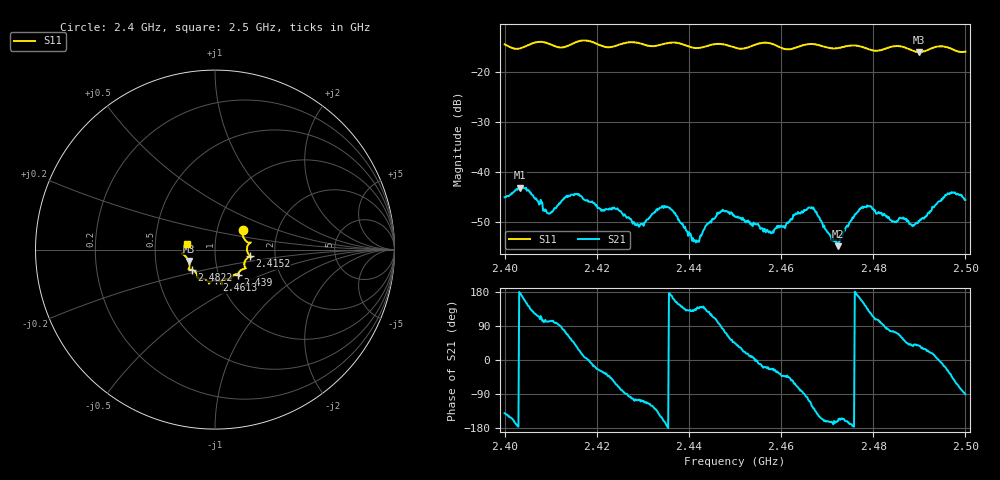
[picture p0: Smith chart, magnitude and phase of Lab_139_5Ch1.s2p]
# Hz S RI R 50
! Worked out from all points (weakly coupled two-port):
!   601 points, 2.4 GHz to 2.5 GHz, reference 50 ohm
!   highest |S21| = -43.16 dB at 2.4033 GHz (marker M1); lowest = -54.9 dB at 2.4723 GHz (marker M2)
!   lowest |S11| = -15.9 dB at 2.49 GHz (marker M3), VSWR 1.38, Z = 36.9 - j4.82 ohm
!   |S11| at or under -10 dB: start of sweep to end of sweep
!   S12 and S22 are empty: the file has one direction only
!   S11 on the Smith chart (normalised r, x): 2.4 GHz: 1.33, +0.31; 2.4152 GHz: 1.48, -0.11; 2.439 GHz: 1.24, -0.36; 2.4613 GHz: 0.96, -0.34; 2.4822 GHz: 0.76, -0.17; 2.5 GHz: 0.73, +0.05
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2.4e9  0.1555 0.1112  -0.0043 -0.00355  0 0  0 0
2.403333e9  0.1645 0.0572  -0.00694 0.000456  0 0  0 0
2.409667e9  0.1907 0.0348  -0.000819 0.00372  0 0  0 0
2.415167e9  0.1949 -0.0368  0.0044 0.00411  0 0  0 0
2.416667e9  0.2043 -0.0425  0.00545 0.00168  0 0  0 0
2.428833e9  0.1683 -0.1052  -0.000794 -0.0029  0 0  0 0
2.433333e9  0.1322 -0.1321  -0.00327 -0.00274  0 0  0 0
2.435833e9  0.134 -0.1466  -0.00435 0.00033  0 0  0 0
2.439e9  0.1283 -0.1389  -0.00196 0.0019  0 0  0 0
2.441667e9  0.102 -0.1431  -0.00145 0.00145  0 0  0 0
2.446667e9  0.0858 -0.1734  -0.000253 0.00385  0 0  0 0
2.45e9  0.0688 -0.1636  0.00258 0.00249  0 0  0 0
2.457833e9  0.0392 -0.1911  0.0022 -0.001  0 0  0 0
2.461333e9  0.00755 -0.1705  0.00233 -0.00204  0 0  0 0
2.466667e9  -0.0332 -0.1902  -0.00231 -0.00377  0 0  0 0
2.472333e9  -0.0697 -0.1608  -0.0017 -0.000567  0 0  0 0
2.4775e9  -0.0962 -0.1532  -0.00399 0.00175  0 0  0 0
2.482167e9  -0.1282 -0.1118  -0.000154 0.00366  0 0  0 0
2.483333e9  -0.1396 -0.1102  0.000597 0.00349  0 0  0 0
2.49e9  -0.1466 -0.0636  0.00253 0.00195  0 0  0 0
2.496167e9  -0.1773 -0.0174  0.00542 -0.00277  0 0  0 0
2.5e9  -0.1582 0.0332  -4.68e-05 -0.00524  0 0  0 0
